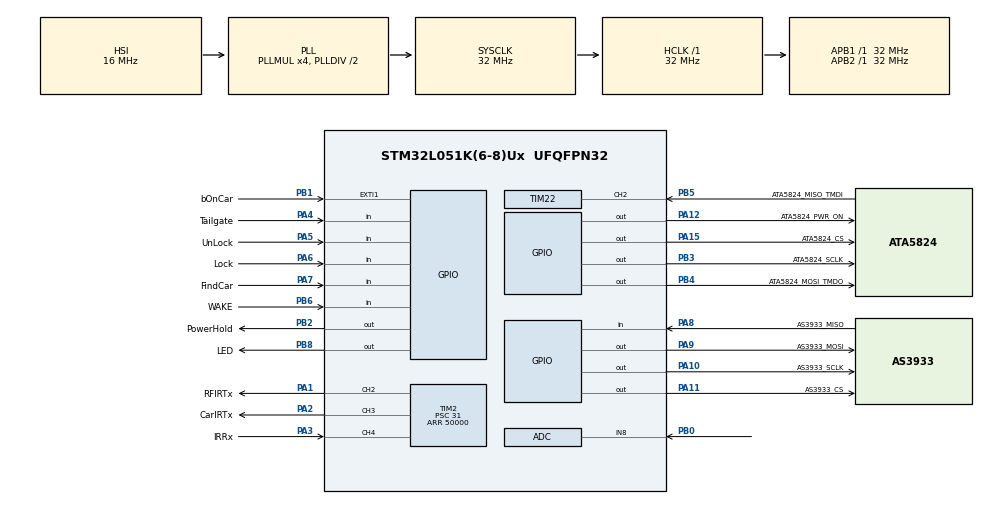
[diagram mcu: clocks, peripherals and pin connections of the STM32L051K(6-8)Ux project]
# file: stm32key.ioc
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ADC.ClockPrescaler=ADC_CLOCK_ASYNC_DIV4
ADC.Resolution=ADC_RESOLUTION_8B
ADC.SamplingTime=ADC_SAMPLETIME_3CYCLES_5
Mcu.Family=STM32L0
Mcu.Name=STM32L051K(6-8)Ux
Mcu.Package=UFQFPN32
Mcu.UserConstants=RFIRHeaderCycle,16;RFIRBase,1160;CarIRBase,1019;RFCycle,500;IRRxTimeOut,3000
NVIC.EXTI0_1_IRQn=true\:1\:0\:true\:false\:false\:true\:true
NVIC.TIM22_IRQn=true\:0\:0\:false\:false\:true\:true\:true
NVIC.TIM2_IRQn=true\:0\:0\:false\:false\:true\:true\:true
PA0.Mode=SYS_WakeUp0
PA0.Signal=SYS_WKUP1
PA1.GPIO_Label=RFIRTx
PA1.GPIO_PuPd=GPIO_PULLUP
PA1.Signal=S_TIM2_CH2
PA10.GPIO_Label=AS3933_SCLK
PA10.GPIO_PuPd=GPIO_PULLUP
PA10.GPIO_Speed=GPIO_SPEED_FREQ_HIGH
PA10.Signal=GPIO_Output
PA11.GPIO_Label=AS3933_CS
PA11.GPIO_PuPd=GPIO_PULLDOWN
PA11.Signal=GPIO_Output
PA12.GPIO_Label=ATA5824_PWR_ON
PA12.GPIO_PuPd=GPIO_PULLUP
PA12.PinState=GPIO_PIN_SET
PA12.Signal=GPIO_Output
PA13.Mode=Serial_Wire
PA13.Signal=SYS_SWDIO
PA14.Mode=Serial_Wire
PA14.Signal=SYS_SWCLK
PA15.GPIO_Label=ATA5824_CS
PA15.GPIO_PuPd=GPIO_PULLDOWN
PA15.Signal=GPIO_Output
PA2.GPIO_Label=CarIRTx
PA2.GPIO_PuPd=GPIO_PULLUP
PA2.Signal=S_TIM2_CH3
PA3.GPIO_Label=IRRx
PA3.GPIO_PuPd=GPIO_PULLUP
PA3.Signal=S_TIM2_CH4
PA4.GPIO_Label=Tailgate
PA4.GPIO_PuPd=GPIO_PULLUP
PA4.Signal=GPIO_Input
PA5.GPIO_Label=UnLock
PA5.GPIO_PuPd=GPIO_PULLUP
PA5.Signal=GPIO_Input
PA6.GPIO_Label=Lock
PA6.GPIO_PuPd=GPIO_PULLUP
PA6.Signal=GPIO_Input
PA7.GPIO_Label=FindCar
PA7.GPIO_PuPd=GPIO_PULLUP
PA7.Signal=GPIO_Input
PA8.GPIO_Label=AS3933_MISO
PA8.Signal=GPIO_Input
PA9.GPIO_Label=AS3933_MOSI
PA9.GPIO_Speed=GPIO_SPEED_FREQ_HIGH
PA9.Signal=GPIO_Output
PB0.Mode=IN8
PB0.Signal=ADC_IN8
PB1.GPIO_Label=bOnCar
PB1.GPIO_ModeDefaultEXTI=GPIO_MODE_IT_RISING
PB1.GPIO_PuPd=GPIO_PULLDOWN
PB1.Signal=GPXTI1
PB2.GPIO_Label=PowerHold
PB2.Signal=GPIO_Output
PB3.GPIO_Label=ATA5824_SCLK
PB3.GPIO_PuPd=GPIO_PULLUP
PB3.GPIO_Speed=GPIO_SPEED_FREQ_HIGH
PB3.Signal=GPIO_Output
PB4.GPIO_Label=ATA5824_MOSI_TMDO
PB4.GPIO_Speed=GPIO_SPEED_FREQ_HIGH
PB4.Signal=GPIO_Output
PB5.GPIO_Label=ATA5824_MISO_TMDI
PB5.Signal=S_TIM22_CH2
PB6.GPIO_Label=WAKE
PB6.Signal=GPIO_Input
PB8.GPIO_Label=LED
PB8.Signal=GPIO_Output
ProjectManager.HeapSize=0x200
ProjectManager.StackSize=0x400
ProjectManager.TargetToolchain=Other Toolchains (GPDSC)
RCC.AHBFreq_Value=32000000
RCC.APB1Freq_Value=32000000
RCC.APB1TimFreq_Value=32000000
RCC.APB2Freq_Value=32000000
RCC.APB2TimFreq_Value=32000000
RCC.FLatency=FLASH_LATENCY_1
RCC.HCLKFreq_Value=32000000
RCC.HSI16_VALUE=16000000
RCC.HSI_VALUE=16000000
RCC.LSE_VALUE=32768
RCC.MSI_VALUE=2097000
RCC.PLLMUL=RCC_PLLMUL_4
RCC.SYSCLKFreq_VALUE=32000000
RCC.SYSCLKSource=RCC_SYSCLKSOURCE_PLLCLK
RCC.VCOOutputFreq_Value=64000000
RCC.VDD_VALUE=3
SH.S_TIM22_CH2.0=TIM22_CH2,Input_Capture2_from_TI2
SH.S_TIM2_CH2.0=TIM2_CH2,PWM Generation2 CH2
SH.S_TIM2_CH3.0=TIM2_CH3,PWM Generation3 CH3
SH.S_TIM2_CH4.0=TIM2_CH4,Input_Capture4_from_TI4
TIM2.Channel-Input_Capture4_from_TI4=TIM_CHANNEL_4
TIM2.Channel-PWM\ Generation2\ CH2=TIM_CHANNEL_2
TIM2.Channel-PWM\ Generation3\ CH3=TIM_CHANNEL_3
TIM2.OCMode_PWM-PWM\ Generation2\ CH2=TIM_OCMODE_PWM2
TIM2.OCMode_PWM-PWM\ Generation3\ CH3=TIM_OCMODE_PWM2
TIM2.Period=50000
TIM2.Prescaler=31
TIM2.Pulse-PWM\ Generation2\ CH2=6
TIM2.Pulse-PWM\ Generation3\ CH3=20
TIM22.Channel-Input_Capture2_from_TI2=TIM_CHANNEL_2
TIM22.ICPolarity_CH2=TIM_INPUTCHANNELPOLARITY_BOTHEDGE
TIM22.Period=120
TIM22.Prescaler=31
VP_ADC_Vref_Input.Mode=IN-Vrefint
VP_TIM21_VS_ClockSourceINT.Mode=Internal
board=custom

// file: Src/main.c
/* USER CODE BEGIN Header */
/**
  ******************************************************************************
  * @file           : main.c
  * @brief          : Main program body
  ******************************************************************************
  ** This notice applies to any and all portions of this file
  * that are not between comment pairs USER CODE BEGIN and
  * USER CODE END. Other portions of this file, whether
  * inserted by the user or by software development tools
  * are owned by their respective copyright owners.
  *
  * COPYRIGHT(c) 2018 STMicroelectronics
  *
  * Redistribution and use in source and binary forms, with or without modification,
  * are permitted provided that the following conditions are met:
  *   1. Redistributions of source code must retain the above copyright notice,
  *      this list of conditions and the following disclaimer.
  *   2. Redistributions in binary form must reproduce the above copyright notice,
  *      this list of conditions and the following disclaimer in the documentation
  *      and/or other materials provided with the distribution.
  *   3. Neither the name of STMicroelectronics nor the names of its contributors
  *      may be used to endorse or promote products derived from this software
  *      without specific prior written permission.
  *
  * THIS SOFTWARE IS PROVIDED BY THE COPYRIGHT HOLDERS AND CONTRIBUTORS "AS IS"
  * AND ANY EXPRESS OR IMPLIED WARRANTIES, INCLUDING, BUT NOT LIMITED TO, THE
  * IMPLIED WARRANTIES OF MERCHANTABILITY AND FITNESS FOR A PARTICULAR PURPOSE ARE
  * DISCLAIMED. IN NO EVENT SHALL THE COPYRIGHT HOLDER OR CONTRIBUTORS BE LIABLE
  * FOR ANY DIRECT, INDIRECT, INCIDENTAL, SPECIAL, EXEMPLARY, OR CONSEQUENTIAL
  * DAMAGES (INCLUDING, BUT NOT LIMITED TO, PROCUREMENT OF SUBSTITUTE GOODS OR
  * SERVICES; LOSS OF USE, DATA, OR PROFITS; OR BUSINESS INTERRUPTION) HOWEVER
  * CAUSED AND ON ANY THEORY OF LIABILITY, WHETHER IN CONTRACT, STRICT LIABILITY,
  * OR TORT (INCLUDING NEGLIGENCE OR OTHERWISE) ARISING IN ANY WAY OUT OF THE USE
  * OF THIS SOFTWARE, EVEN IF ADVISED OF THE POSSIBILITY OF SUCH DAMAGE.
  *
  ******************************************************************************
  */
/* USER CODE END Header */

#include "main.h"
#include "adc.h"
#include "tim.h"
#include "gpio.h"

/* USER CODE BEGIN Includes */
#include "lcyHash.h"
#include "lcyIRDecode.h"
#include "..\wf\OnCarProc.h"
#include "..\wf\Variables.h"
#include "wfSys.h"
#include "..\wf\Function.h"
#include "..\wf\ButtonProc.h"
#include "SimSPI.h"
#include "..\wf\AS3933.h"
#include "..\wf\ATA5824.h"
/* USER CODE END Includes */

/* USER CODE BEGIN PV */
/* Private variables ---------------------------------------------------------*/

/* USER CODE END PV */

void SystemClock_Config(void);
/* USER CODE BEGIN PFP */
/* Private function prototypes -----------------------------------------------*/

/* USER CODE END PFP */

/* USER CODE BEGIN 0 */
const uint8_t eeprom[160]=
{
	0x00, 0x49, 0xE4, 0x8C, 0x8C, 0xD2, 0x00, 0x15, //0x00～07
	0x01, 0xB8, 0x98, 0x61, 0x5A, 0xB2, 0x09, 0x78, //0x08～0F
	0x98, 0x63, 0xA4, 0x8A, 0xCD, 0xD5, 0xB5, 0xEB, //0x10～17
	0x3C, 0xDD, 0x73, 0xED, 0xBB, 0x8C, 0x13, 0x9C, //0x18～1F
	0x41, 0xAB, 0xCA, 0x86, 0x8B, 0xB8, 0x3C, 0x30, //0x20～27
	0xB9, 0x20, 0x29, 0x36, 0x64, 0x48, 0xFC, 0x53, //0x28～2F
	0x29, 0xB5, 0x7C, 0xC9, 0xFB, 0x2E, 0x1B, 0xB3, //0x30～37
	0x2F, 0x13, 0xAC, 0x5E, 0xA7, 0x8F, 0xBA, 0x2F, //0x38～3F
	0xC0, 0x48, 0x17, 0x71, 0x76, 0x41, 0x7F, 0xB1, //0x40～47
	0xE7, 0x1E, 0x2E, 0x10, 0xB3, 0xE3, 0xCE, 0xA6, //0x48～4F
	0xD3, 0xE3, 0x96, 0x1F, 0x91, 0x90, 0x05, 0xDC, //0x50～57
	0xFB, 0x9E, 0xDD, 0x23, 0xE6, 0x6C, 0x58, 0x8D, //0x58～5F
	0x50, 0x36, 0xBF, 0xB9, 0xAF, 0x62, 0x3F, 0x68, //0x60～67
	0x77, 0xFF, 0xFF, 0xFF, 0xFF, 0xFF, 0xFF, 0x6D, //0x68～6F
	0xFF, 0x7E, 0x97, 0xC7, 0xDF, 0xFD, 0x58, 0xDA, //0x70～77
	0x27, 0x8F, 0x54, 0x7F, 0xE4, 0xFF, 0xFF, 0xFF, //0x78～7F
	0xFF, 0xFF, 0xFF, 0xFF, 0xFF, 0xFF, 0xFF, 0xFF, //0x80～87
	0xE0, 0xA8, 0x16, 0x0E, 0xB8, 0x98, 0x61, 0x5A, //0x88～8F
	0x01, 0x01, 0x01, 0x01, 0xFF, 0xFF, 0xFF, 0xFF, //0x90～97
	0x73, 0x0C, 0x00, 0x00, 0x00, 0x00, 0x21, 0xDF, //0x98～9F
};

/* USER CODE END 0 */

int main(void)
{
  /* USER CODE BEGIN 1 */
	uint8_t addr,intiEE[255];
	uint32_t i;
  /* USER CODE END 1 */

  /* MCU Configuration--------------------------------------------------------*/

  /* Reset of all peripherals, Initializes the Flash interface and the Systick. */
  HAL_Init();

  /* Configure the system clock */
  SystemClock_Config();

  /* Initialize all configured peripherals */
  MX_GPIO_Init();
  MX_ADC_Init();
  MX_TIM2_Init();
  MX_TIM21_Init();
  MX_TIM22_Init();
  /* USER CODE BEGIN 2 */
  gFlags.all=0;
  wfDelay_init(32);
  gFlags.bTxFinish=1;
  /************************************************************************/
  /* 强行初始ee                                                           */
  /************************************************************************/
  //for(i=0;i<160;i+=8)
  //{
	  //RomData_WriteBytes(i,(uint8_t*)(&eeprom[i]),8);
  //}
  /************************************************************************/
  /* ee全部擦除                                                           */
  /************************************************************************/
//   for(i=0;i<255;i++)
// 	  intiEE[i]=0x00;
//   RomData_WriteBytes(0,intiEE,255);
//   while(1);
	/************************************************************************/
	/* 5824test                                                                     */
	/************************************************************************/

   //HAL_GPIO_WritePin(ATA5824_PWR_ON_GPIO_Port,ATA5824_PWR_ON_Pin,GPIO_PIN_SET);
   //ATA5824_Init();

   //  	GetKeyState();
   //  	GetKeyParam();//获得钥匙当前相关数据
   //	while(1)
   //	{
   //		ATA5824_WaitRx(-1);
   //		UsedDEC();
   //		GetKeyState();
   //		GetKeyParam();//获得钥匙当前相关数据
   //		wfDelay_ms(1000);
   //	}
	/************************************************************************/
	/*  红外test                                                            */
	/************************************************************************/
//  	while(1)
//  	{
//  		wfDelay_ms(1000);
//  		for(i=0;i<16;i++)
//  		{
//  			IRTxList[i]=i;
//  		}
//  		IRTxCount=16;
//  		CarIRTxProc();
//  	}
  /************************************************************************/
  /* 3933                                                                 */
  /************************************************************************/
//    AS3933_COMM(AS3933_COMM_PResetDefault);
//    AS3933_Init();
//    while(bAS3933Wake()==GPIO_PIN_RESET);
//   NVIC_SystemReset();
  /************************************************************************/
  /*                                                                      */
  /************************************************************************/

  /* USER CODE END 2 */

  /* Infinite loop */
  /* USER CODE BEGIN WHILE */
  HAL_NVIC_DisableIRQ(EXTI0_1_IRQn);
  GetKeyState();
//  GetKeyParam();
  if(bOnCarPower())
  {
	  AS3933_COMM(AS3933_COMM_PResetDefault);
	  AS3933_Init();
	  GetKeyState();
	  GetKeyParam();//获得钥匙当前相关数据
	  OnCarProc();
  }
  else
  {
	  ReadButton();
	  if(curKeyStateFlags.keyValue!=NoKey)
	  {
		  AS3933_COMM(AS3933_COMM_PResetDefault);
		  AS3933_Init();
		  ButtionProc();
	  }
	  else if(bAS3933Wake())
	  {
		  if(RomStateFlags.bRomWrited && RomStateFlags.bStudy)
		  {
			  BAT_ON();
			  ATA5824_Init();
			  ATA5824_WaitRx(100);
			  BAT_OFF();
			  while(1);
		  }
		  else
		  {
			  BAT_OFF();
			  while(1);
			  //NVIC_SystemReset();
		  }
	  }
	  else
	  {
		  AS3933_COMM(AS3933_COMM_PResetDefault);
		  AS3933_Init();
#ifdef KeepPower
		  if(bOnCarPower()==OnCarPowerState_OFF)
			  NVIC_SystemReset();
#else
		  LEDFlash();
#endif
	  }
	  BAT_OFF();
	  while(1)
	  {
#ifdef KeepPower
		  if(bOnCarPower()==OnCarPowerState_OFF)
			  NVIC_SystemReset();
#else
		  LEDFlash();
#endif
	  }
  }

//   AS3933_Init();
//   ATA5824_Init();
//   HAL_Delay(10);

  GetKeyState();
  GetKeyParam();//获得钥匙当前相关数据
//  ButtionProc();
  while (1)
  {
    /* USER CODE END WHILE */

    /* USER CODE BEGIN 3 */
	  if(bOnCarPower())
	  {
		  OnCarProc();
	  }
// 	  else
// 	  {
//
// 	  }
  }
  /* USER CODE END 3 */
}

void SystemClock_Config(void)
{
  RCC_OscInitTypeDef RCC_OscInitStruct = {0};
  RCC_ClkInitTypeDef RCC_ClkInitStruct = {0};

  /**Configure the main internal regulator output voltage
  */
  __HAL_PWR_VOLTAGESCALING_CONFIG(PWR_REGULATOR_VOLTAGE_SCALE1);
  /**Initializes the CPU, AHB and APB busses clocks
  */
  RCC_OscInitStruct.OscillatorType = RCC_OSCILLATORTYPE_HSI;
  RCC_OscInitStruct.HSIState = RCC_HSI_ON;
  RCC_OscInitStruct.HSICalibrationValue = RCC_HSICALIBRATION_DEFAULT;
  RCC_OscInitStruct.PLL.PLLState = RCC_PLL_ON;
  RCC_OscInitStruct.PLL.PLLSource = RCC_PLLSOURCE_HSI;
  RCC_OscInitStruct.PLL.PLLMUL = RCC_PLLMUL_4;
  RCC_OscInitStruct.PLL.PLLDIV = RCC_PLLDIV_2;
  if (HAL_RCC_OscConfig(&RCC_OscInitStruct) != HAL_OK)
  {
    Error_Handler();
  }
  /**Initializes the CPU, AHB and APB busses clocks
  */
  RCC_ClkInitStruct.ClockType = RCC_CLOCKTYPE_HCLK|RCC_CLOCKTYPE_SYSCLK
                              |RCC_CLOCKTYPE_PCLK1|RCC_CLOCKTYPE_PCLK2;
  RCC_ClkInitStruct.SYSCLKSource = RCC_SYSCLKSOURCE_PLLCLK;
  RCC_ClkInitStruct.AHBCLKDivider = RCC_SYSCLK_DIV1;
  RCC_ClkInitStruct.APB1CLKDivider = RCC_HCLK_DIV1;
  RCC_ClkInitStruct.APB2CLKDivider = RCC_HCLK_DIV1;

  if (HAL_RCC_ClockConfig(&RCC_ClkInitStruct, FLASH_LATENCY_1) != HAL_OK)
  {
    Error_Handler();
  }
}

void Error_Handler(void)
{
  while(1)
  {
  }
}

/************************ (C) COPYRIGHT STMicroelectronics *****END OF FILE****/
